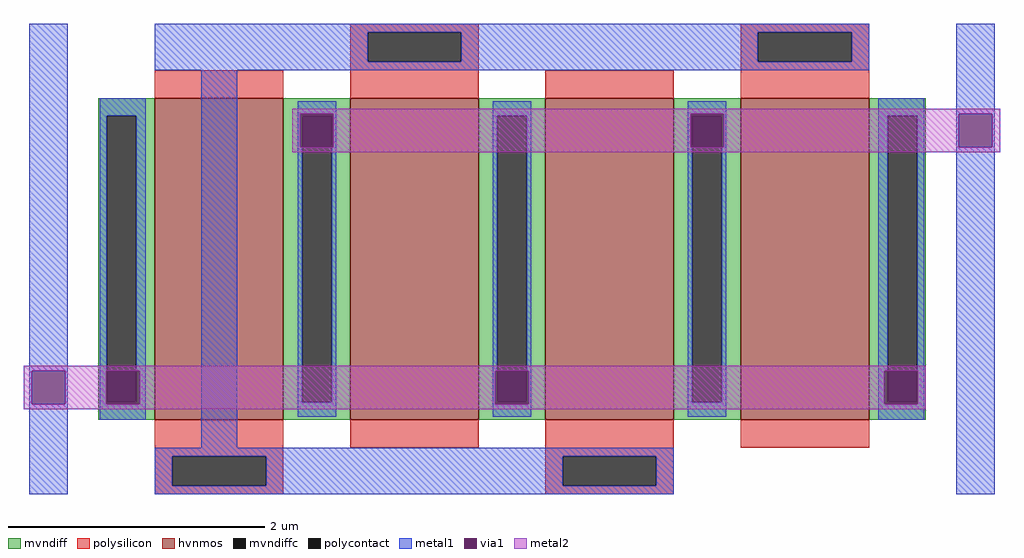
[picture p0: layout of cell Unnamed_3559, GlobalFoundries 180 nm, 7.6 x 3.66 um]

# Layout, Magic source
magic
tech gf180mcuD
magscale 1 10
<< hvnmos >>
rect 14 0 214 500
rect 318 0 518 500
rect 622 0 822 500
rect 926 0 1126 500
<< mvndiff >>
rect -74 473 14 500
rect -74 27 -61 473
rect -15 27 14 473
rect -74 0 14 27
rect 214 473 318 500
rect 214 27 243 473
rect 289 27 318 473
rect 214 0 318 27
rect 518 473 622 500
rect 518 27 547 473
rect 593 27 622 473
rect 518 0 622 27
rect 822 473 926 500
rect 822 27 851 473
rect 897 27 926 473
rect 822 0 926 27
rect 1126 473 1214 500
rect 1126 27 1155 473
rect 1201 27 1214 473
rect 1126 0 1214 27
<< mvndiffc >>
rect -61 27 -15 473
rect 243 27 289 473
rect 547 27 593 473
rect 851 27 897 473
rect 1155 27 1201 473
<< polysilicon >>
rect 318 603 518 616
rect 318 557 345 603
rect 491 557 518 603
rect 14 500 214 544
rect 318 500 518 557
rect 926 603 1126 616
rect 926 557 953 603
rect 1099 557 1126 603
rect 622 500 822 544
rect 926 500 1126 557
rect 14 -57 214 0
rect 318 -44 518 0
rect 14 -103 41 -57
rect 187 -103 214 -57
rect 14 -116 214 -103
rect 622 -57 822 0
rect 926 -44 1126 0
rect 622 -103 649 -57
rect 795 -103 822 -57
rect 622 -116 822 -103
<< polycontact >>
rect 345 557 491 603
rect 953 557 1099 603
rect 41 -103 187 -57
rect 649 -103 795 -57
<< metal1 >>
rect -182 76 -122 616
rect 14 603 1126 616
rect 14 557 345 603
rect 491 557 953 603
rect 1099 557 1126 603
rect 14 544 1126 557
rect -182 24 -178 76
rect -126 24 -122 76
rect -182 -116 -122 24
rect -72 473 0 500
rect -72 76 -61 473
rect -15 76 0 473
rect -72 24 -62 76
rect -10 24 0 76
rect -72 0 0 24
rect 86 -44 142 544
rect 236 476 296 496
rect 236 424 240 476
rect 292 424 296 476
rect 236 27 243 424
rect 289 27 296 424
rect 236 4 296 27
rect 540 473 600 496
rect 540 76 547 473
rect 593 76 600 473
rect 540 24 544 76
rect 596 24 600 76
rect 540 4 600 24
rect 844 476 904 496
rect 844 424 848 476
rect 900 424 904 476
rect 844 27 851 424
rect 897 27 904 424
rect 844 4 904 27
rect 1140 473 1212 500
rect 1140 76 1155 473
rect 1201 76 1212 473
rect 1140 24 1150 76
rect 1202 24 1212 76
rect 1140 0 1212 24
rect 1262 476 1322 616
rect 1262 424 1266 476
rect 1318 424 1322 476
rect 14 -57 822 -44
rect 14 -103 41 -57
rect 187 -103 649 -57
rect 795 -103 822 -57
rect 14 -116 822 -103
rect 1262 -116 1322 424
<< via1 >>
rect -178 24 -126 76
rect -62 27 -61 76
rect -61 27 -15 76
rect -15 27 -10 76
rect -62 24 -10 27
rect 240 473 292 476
rect 240 424 243 473
rect 243 424 289 473
rect 289 424 292 473
rect 544 27 547 76
rect 547 27 593 76
rect 593 27 596 76
rect 544 24 596 27
rect 848 473 900 476
rect 848 424 851 473
rect 851 424 897 473
rect 897 424 900 473
rect 1150 27 1155 76
rect 1155 27 1201 76
rect 1201 27 1202 76
rect 1150 24 1202 27
rect 1266 424 1318 476
<< metal2 >>
rect 228 476 1330 484
rect 228 424 240 476
rect 292 424 848 476
rect 900 424 1266 476
rect 1318 424 1330 476
rect 228 416 1330 424
rect -190 76 1214 84
rect -190 24 -178 76
rect -126 24 -62 76
rect -10 24 544 76
rect 596 24 1150 76
rect 1202 24 1214 76
rect -190 16 1214 24
<< end >>
